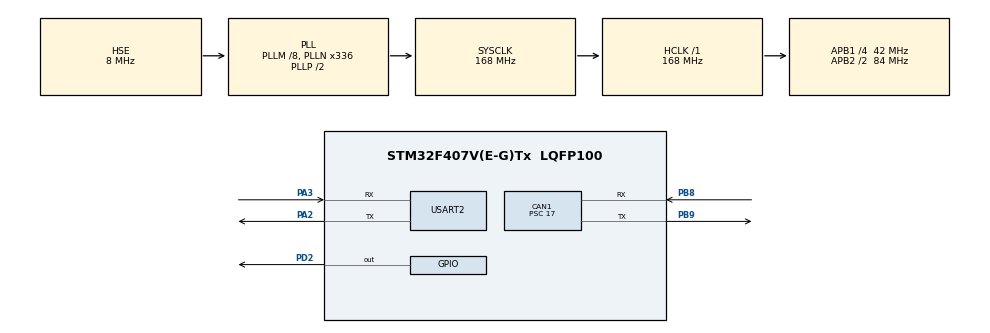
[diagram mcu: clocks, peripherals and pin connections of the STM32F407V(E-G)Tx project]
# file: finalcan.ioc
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CAN1.BS1=CAN_BS1_6TQ
CAN1.BS2=CAN_BS2_3TQ
CAN1.CalculateBaudRate=247058
CAN1.CalculateTimeBit=4047
CAN1.CalculateTimeQuantum=404.76190476190476
CAN1.Prescaler=17
Mcu.Family=STM32F4
Mcu.Name=STM32F407V(E-G)Tx
Mcu.Package=LQFP100
NVIC.CAN1_RX0_IRQn=true\:0\:1\:false\:false\:true\:true\:true\:true
NVIC.CAN1_TX_IRQn=true\:0\:2\:false\:false\:true\:true\:true\:true
NVIC.PriorityGroup=NVIC_PRIORITYGROUP_0
PA13.Mode=Serial_Wire
PA13.Signal=SYS_JTMS-SWDIO
PA14.Mode=Serial_Wire
PA14.Signal=SYS_JTCK-SWCLK
PA2.Mode=Asynchronous
PA2.Signal=USART2_TX
PA3.Mode=Asynchronous
PA3.Signal=USART2_RX
PB8.Mode=CAN_Activate
PB8.Signal=CAN1_RX
PB9.Mode=CAN_Activate
PB9.Signal=CAN1_TX
PD2.PinState=GPIO_PIN_RESET
PD2.Signal=GPIO_Output
PH0-OSC_IN.Mode=HSE-External-Oscillator
PH0-OSC_IN.Signal=RCC_OSC_IN
PH1-OSC_OUT.Mode=HSE-External-Oscillator
PH1-OSC_OUT.Signal=RCC_OSC_OUT
ProjectManager.HeapSize=0x200
ProjectManager.StackSize=0x400
ProjectManager.TargetToolchain=STM32CubeIDE
RCC.48MHZClocksFreq_Value=48000000
RCC.AHBFreq_Value=168000000
RCC.APB1CLKDivider=RCC_HCLK_DIV4
RCC.APB1Freq_Value=42000000
RCC.APB1TimFreq_Value=84000000
RCC.APB2CLKDivider=RCC_HCLK_DIV2
RCC.APB2Freq_Value=84000000
RCC.APB2TimFreq_Value=168000000
RCC.CortexFreq_Value=168000000
RCC.HCLKFreq_Value=168000000
RCC.HSE_VALUE=8000000
RCC.HSI_VALUE=16000000
RCC.LSE_VALUE=32768
RCC.PLLM=8
RCC.PLLN=336
RCC.PLLQ=7
RCC.PLLSourceVirtual=RCC_PLLSOURCE_HSE
RCC.SYSCLKFreq_VALUE=168000000
RCC.SYSCLKSource=RCC_SYSCLKSOURCE_PLLCLK
RCC.VCOOutputFreq_Value=336000000
USART2.VirtualMode=VM_ASYNC
board=STM32F407G-DISC1

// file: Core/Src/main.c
/* USER CODE BEGIN Header */
/**
  ******************************************************************************
  * @file           : main.c
  * @brief          : Main program body
  ******************************************************************************
  * @attention
  *
  * Copyright (c) 2022 STMicroelectronics.
  * All rights reserved.
  *
  * This software is licensed under terms that can be found in the LICENSE file
  * in the root directory of this software component.
  * If no LICENSE file comes with this software, it is provided AS-IS.
  *
  ******************************************************************************
  */
/* USER CODE END Header */
#include "main.h"

/* USER CODE BEGIN Includes */
#include "rtwtypes.h"
#include "STMpil.h"
#include "stdio.h"

/* USER CODE END Includes */

CAN_HandleTypeDef hcan1;

UART_HandleTypeDef huart2;

void SystemClock_Config(void);
static void MX_GPIO_Init(void);
static void MX_CAN1_Init(void);
static void MX_USART2_UART_Init(void);

/* USER CODE BEGIN 0 */
uint8_t TxData[8];
uint32_t TxMailbox;

char str[32];
uint8_t buffer[4];
uint8_t RxData[4];
int size_len;

CAN_TxHeaderTypeDef Tx;
CAN_RxHeaderTypeDef RxHeader;

uint8_t count = 0;
float RX_msg = 0;

void HAL_CAN_RxFifo0MsgPendingCallback(CAN_HandleTypeDef *hcan)
{
	HAL_CAN_GetRxMessage(&hcan1, CAN_RX_FIFO0, &RxHeader, RxData);
	memcpy(&RX_msg, RxData, 4);
	count++;
}
/* USER CODE END 0 */

int main(void)
{

  /* MCU Configuration--------------------------------------------------------*/

  /* Reset of all peripherals, Initializes the Flash interface and the Systick. */
  HAL_Init();

  /* Configure the system clock */
  SystemClock_Config();

  /* Initialize all configured peripherals */
  MX_GPIO_Init();
  MX_CAN1_Init();
  MX_USART2_UART_Init();
  /* USER CODE BEGIN 2 */
  STMpil_initialize();
  STMpil_U.In1= 48;
  float data = (float) STMpil_Y.SOC;
  float retrived_data;
  Tx.DLC=4;
  Tx.IDE=CAN_ID_STD;
  Tx.StdId=0x100;
  Tx.RTR=CAN_RTR_DATA;
  //memcpy(buffer, &STMpil_Y.SOC, 4);
  //TxData[0] = 0xCA;
  //TxData[1] = 0xFE;
  //STMpil_Y.SOC= (float)(STMpil_Y.SOC);
  //uint8_t *data= (uint8_t *) &STMpil_Y.SOC;
  /*CAN_FilterTypeDef sFilterConfig;
  sFilterConfig.FilterBank = 0; // Use filter bank 0
  sFilterConfig.FilterMode = CAN_FILTERMODE_IDMASK; // Use ID mask mode
  sFilterConfig.FilterScale = CAN_FILTERSCALE_32BIT; // Use 32-bit scale filters
  sFilterConfig.FilterIdHigh = 0x0000; // High 16-bits of the filter ID
  sFilterConfig.FilterIdLow = 0x0000; // Low 16-bits of the filter ID
  sFilterConfig.FilterMaskIdHigh = 0x0000; // High 16-bits of the filter mask
  sFilterConfig.FilterMaskIdLow = 0x0000; // Low 16-bits of the filter mask
  sFilterConfig.FilterFIFOAssignment = CAN_FILTER_FIFO0; // Assign the filter to FIFO 0
  sFilterConfig.FilterActivation = CAN_FILTER_ENABLE; // Enable the filter
  sFilterConfig.SlaveStartFilterBank = 14; // Not used in loopback mode
  */

  //HAL_CAN_ConfigFilter(&hcan1, &sFilterConfig);

  //HAL_CAN_ActivateNotification(&hcan1, CAN_IT_RX_FIFO0_MSG_PENDING);
  HAL_CAN_Start(&hcan1);

  /* USER CODE END 2 */

  /* Infinite loop */
  while (1)
  {

    /* USER CODE BEGIN 3 */
	  STMpil_step();
	  data = (float) STMpil_Y.SOC;
	  memcpy(buffer, &data, 4);
	  memcpy(&retrived_data, buffer, 4);
	  HAL_CAN_AddTxMessage(&hcan1, &Tx, buffer, &TxMailbox);
	  //size_len = sprintf (str, "State of Charge : %f\n", RX_msg);
	  //HAL_UART_Transmit (&huart2, (uint8_t *)str, size_len, HAL_MAX_DELAY);
	  HAL_Delay(100);
  }
  /* USER CODE END 3 */
}

void SystemClock_Config(void)
{
  RCC_OscInitTypeDef RCC_OscInitStruct = {0};
  RCC_ClkInitTypeDef RCC_ClkInitStruct = {0};

  /** Configure the main internal regulator output voltage
  */
  __HAL_RCC_PWR_CLK_ENABLE();
  __HAL_PWR_VOLTAGESCALING_CONFIG(PWR_REGULATOR_VOLTAGE_SCALE1);

  /** Initializes the RCC Oscillators according to the specified parameters
  * in the RCC_OscInitTypeDef structure.
  */
  RCC_OscInitStruct.OscillatorType = RCC_OSCILLATORTYPE_HSE;
  RCC_OscInitStruct.HSEState = RCC_HSE_ON;
  RCC_OscInitStruct.PLL.PLLState = RCC_PLL_ON;
  RCC_OscInitStruct.PLL.PLLSource = RCC_PLLSOURCE_HSE;
  RCC_OscInitStruct.PLL.PLLM = 8;
  RCC_OscInitStruct.PLL.PLLN = 336;
  RCC_OscInitStruct.PLL.PLLP = RCC_PLLP_DIV2;
  RCC_OscInitStruct.PLL.PLLQ = 7;
  if (HAL_RCC_OscConfig(&RCC_OscInitStruct) != HAL_OK)
  {
    Error_Handler();
  }

  /** Initializes the CPU, AHB and APB buses clocks
  */
  RCC_ClkInitStruct.ClockType = RCC_CLOCKTYPE_HCLK|RCC_CLOCKTYPE_SYSCLK
                              |RCC_CLOCKTYPE_PCLK1|RCC_CLOCKTYPE_PCLK2;
  RCC_ClkInitStruct.SYSCLKSource = RCC_SYSCLKSOURCE_PLLCLK;
  RCC_ClkInitStruct.AHBCLKDivider = RCC_SYSCLK_DIV1;
  RCC_ClkInitStruct.APB1CLKDivider = RCC_HCLK_DIV4;
  RCC_ClkInitStruct.APB2CLKDivider = RCC_HCLK_DIV2;

  if (HAL_RCC_ClockConfig(&RCC_ClkInitStruct, FLASH_LATENCY_5) != HAL_OK)
  {
    Error_Handler();
  }
}

static void MX_CAN1_Init(void)
{

  hcan1.Instance = CAN1;
  hcan1.Init.Prescaler = 17;
  hcan1.Init.Mode = CAN_MODE_NORMAL;
  hcan1.Init.SyncJumpWidth = CAN_SJW_1TQ;
  hcan1.Init.TimeSeg1 = CAN_BS1_6TQ;
  hcan1.Init.TimeSeg2 = CAN_BS2_3TQ;
  hcan1.Init.TimeTriggeredMode = DISABLE;
  hcan1.Init.AutoBusOff = DISABLE;
  hcan1.Init.AutoWakeUp = DISABLE;
  hcan1.Init.AutoRetransmission = DISABLE;
  hcan1.Init.ReceiveFifoLocked = DISABLE;
  hcan1.Init.TransmitFifoPriority = DISABLE;
  if (HAL_CAN_Init(&hcan1) != HAL_OK)
  {
    Error_Handler();
  }

}

static void MX_USART2_UART_Init(void)
{

  huart2.Instance = USART2;
  huart2.Init.BaudRate = 115200;
  huart2.Init.WordLength = UART_WORDLENGTH_8B;
  huart2.Init.StopBits = UART_STOPBITS_1;
  huart2.Init.Parity = UART_PARITY_NONE;
  huart2.Init.Mode = UART_MODE_TX_RX;
  huart2.Init.HwFlowCtl = UART_HWCONTROL_NONE;
  huart2.Init.OverSampling = UART_OVERSAMPLING_16;
  if (HAL_UART_Init(&huart2) != HAL_OK)
  {
    Error_Handler();
  }

}

static void MX_GPIO_Init(void)
{
  GPIO_InitTypeDef GPIO_InitStruct = {0};

  /* GPIO Ports Clock Enable */
  __HAL_RCC_GPIOH_CLK_ENABLE();
  __HAL_RCC_GPIOA_CLK_ENABLE();
  __HAL_RCC_GPIOD_CLK_ENABLE();
  __HAL_RCC_GPIOB_CLK_ENABLE();

  /*Configure GPIO pin Output Level */
  HAL_GPIO_WritePin(GPIOD, GPIO_PIN_2, GPIO_PIN_RESET);

  /*Configure GPIO pin : PD2 */
  GPIO_InitStruct.Pin = GPIO_PIN_2;
  GPIO_InitStruct.Mode = GPIO_MODE_OUTPUT_PP;
  GPIO_InitStruct.Pull = GPIO_NOPULL;
  GPIO_InitStruct.Speed = GPIO_SPEED_FREQ_LOW;
  HAL_GPIO_Init(GPIOD, &GPIO_InitStruct);

}

void Error_Handler(void)
{
  __disable_irq();
  while (1)
  {
  }
}
